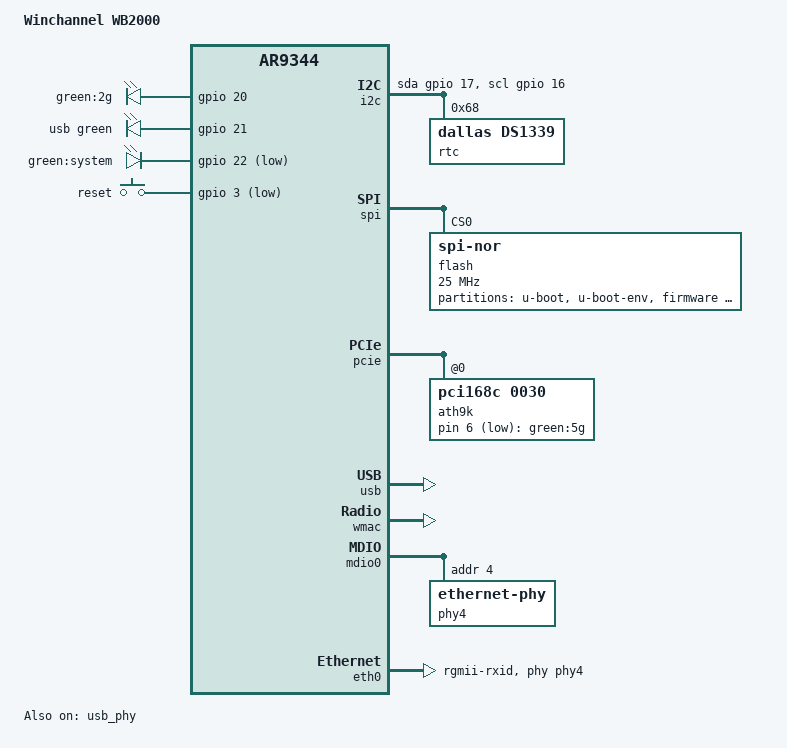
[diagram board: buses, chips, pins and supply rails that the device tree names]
// SPDX-License-Identifier: GPL-2.0-or-later OR MIT

#include "ar9344.dtsi"

#include <dt-bindings/gpio/gpio.h>
#include <dt-bindings/input/input.h>
#include <dt-bindings/leds/common.h>

/ {
	model = "Winchannel WB2000";
	compatible = "winchannel,wb2000", "qca,ar9344";

	chosen {
		bootargs = "console=ttyS0,115200n8";
	};

	aliases {
		led-boot = &led_system;
		led-failsafe = &led_system;
		led-running = &led_system;
		led-upgrade = &led_system;
	};

	i2c {
		compatible = "i2c-gpio";
		gpios = <&gpio 17 GPIO_ACTIVE_HIGH
			 &gpio 16 GPIO_ACTIVE_HIGH
			>;
		#address-cells = <1>;
		#size-cells = <0>;

		rtc@68 {
			compatible = "dallas,ds1339";
			reg = <0x68>;
		};
	};

	leds {
		compatible = "gpio-leds";

		wlan2g {
			label = "green:2g";
			gpios = <&gpio 20 GPIO_ACTIVE_HIGH>;
			linux,default-trigger = "phy0tpt";
		};

		usb {
			function = LED_FUNCTION_USB;
			color = <LED_COLOR_ID_GREEN>;
			gpios = <&gpio 21 GPIO_ACTIVE_HIGH>;
			trigger-sources = <&hub_port>;
			linux,default-trigger = "usbport";
		};

		led_system: system {
			label = "green:system";
			gpios = <&gpio 22 GPIO_ACTIVE_LOW>;
			default-state = "on";
		};
	};

	keys {
		compatible = "gpio-keys";

		reset {
			linux,code = <KEY_RESTART>;
			gpios = <&gpio 3 GPIO_ACTIVE_LOW>;
			debounce-interval = <60>;
		};
	};

	ath9k-leds {
		compatible = "gpio-leds";

		wlan {
			label = "green:5g";
			gpios = <&ath9k 6 GPIO_ACTIVE_LOW>;
			linux,default-trigger = "phy1tpt";
		};
	};
};

&ref {
	clock-frequency = <40000000>;
};

&spi {
	status = "okay";

	flash@0 {
		compatible = "jedec,spi-nor";
		reg = <0>;
		spi-max-frequency = <25000000>;

		partitions {
			compatible = "fixed-partitions";
			#address-cells = <1>;
			#size-cells = <1>;

			partition@0 {
				label = "u-boot";
				reg = <0x0 0x40000>;
				read-only;
			};

			partition@40000 {
				label = "u-boot-env";
				reg = <0x40000 0x10000>;
				read-only;
			};

			partition@50000 {
				label = "firmware";
				reg = <0x50000 0xf80000>;
				compatible = "denx,uimage";
			};

			partition@fd0000 {
				label = "nvram";
				reg = <0xfd0000 0x10000>;
				read-only;
			};

			partition@fe0000 {
				label = "art";
				reg = <0xfe0000 0x10000>;
				read-only;

				nvmem-layout {
					compatible = "fixed-layout";
					#address-cells = <1>;
					#size-cells = <1>;

					calibration_art_1000: calibration@1000 {
						reg = <0x1000 0x440>;
					};

					calibration_art_5000: calibration@5000 {
						reg = <0x5000 0x440>;
					};
				};
			};

			partition@ff0000 {
				label = "addr";
				reg = <0xff0000 0x10000>;
				read-only;

				nvmem-layout {
					compatible = "fixed-layout";
					#address-cells = <1>;
					#size-cells = <1>;

					macaddr_addr_0: macaddr@0 {
						compatible = "mac-base";
						reg = <0x0 0x6>;
						#nvmem-cell-cells = <1>;
					};
				};
			};
		};
	};
};

&pcie {
	status = "okay";

	ath9k: wifi@0,0 {
		compatible = "pci168c,0030";
		reg = <0x0000 0 0 0 0>;
		nvmem-cells = <&macaddr_addr_0 0x10>, <&calibration_art_5000>;
		nvmem-cell-names = "mac-address", "calibration";
		#gpio-cells = <2>;
		gpio-controller;
	};
};

&usb {
	status = "okay";
};

&usb_phy {
	status = "okay";
};

&wmac {
	status = "okay";

	nvmem-cells = <&macaddr_addr_0 0>, <&calibration_art_1000>;
	nvmem-cell-names = "mac-address", "calibration";
};

&mdio0 {
	status = "okay";

	phy4: ethernet-phy@4 {
		reg = <4>;
	};
};

&eth0 {
	status = "okay";

	pll-data = <0xe000000 0x04000101 0x04001313>;

	nvmem-cells = <&macaddr_addr_0 0x21>;
	nvmem-cell-names = "mac-address";

	phy-mode = "rgmii-rxid";
	phy-handle = <&phy4>;

	gmac-config {
		device = <&gmac>;
		rgmii-gmac0 = <1>;
		rxd-delay = <1>;
		rxdv-delay = <1>;
	};
};

